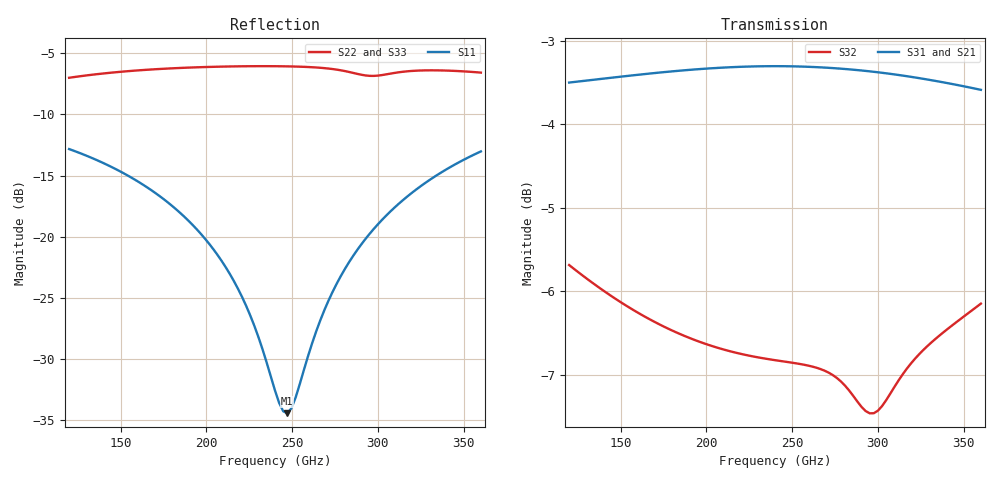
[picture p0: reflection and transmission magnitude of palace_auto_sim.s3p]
#  GHZ S DB R 50
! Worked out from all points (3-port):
!   101 points, 120 GHz to 360 GHz, reference 50 ohm
!   strongest paths, dB at 120 GHz, 180 GHz, 240 GHz, 300 GHz, 360 GHz:
!     S31: -3.5, -3.4, -3.3, -3.4, -3.6
!     S21: -3.5, -3.4, -3.3, -3.4, -3.6
!     S32: -5.7, -6.5, -6.8, -7.4, -6.1
!   lowest |S11| = -34.5 dB at 247.2 GHz (marker M1), VSWR 1.04, Z = 51.9 - j0.214 ohm
!   |S11| at or under -10 dB: start of sweep to end of sweep
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120  -12.83 132.1  -3.50 -43.8  -3.50 -43.9
     -3.50 -43.8  -7.00 51.2  -5.68 -97.6
     -3.50 -43.9  -5.68 -97.6  -7.01 51.2
165.6  -15.98 112.5  -3.40 -61.1  -3.40 -61.1
       -3.40 -61.1  -6.35 26.3  -6.32 -129.5
       -3.40 -61.1  -6.32 -129.5  -6.35 26.3
199.2  -20.17 95.1  -3.34 -74.1  -3.34 -74.1
       -3.34 -74.1  -6.13 11.0  -6.62 -152.2
       -3.34 -74.1  -6.62 -152.2  -6.13 11.0
220.8  -24.93 78.1  -3.32 -82.6  -3.31 -82.6
       -3.32 -82.6  -6.06 2.0  -6.75 -166.7
       -3.31 -82.6  -6.75 -166.7  -6.07 1.9
240  -32.59 36.3  -3.31 -90.1  -3.31 -90.2
     -3.31 -90.1  -6.06 -5.9  -6.82 -179.7
     -3.31 -90.2  -6.82 -179.7  -6.06 -6.0
247.2  -34.45 -6.2  -3.31 -93.0  -3.31 -93.0
       -3.31 -93.0  -6.07 -8.9  -6.84 175.3
       -3.31 -93.0  -6.84 175.3  -6.08 -9.0
271.2  -25.23 -82.3  -3.33 -102.5  -3.33 -102.5
       -3.33 -102.5  -6.25 -19.0  -6.97 158.5
       -3.33 -102.5  -6.97 158.5  -6.25 -19.1
290.4  -20.61 -98.4  -3.36 -110.1  -3.36 -110.1
       -3.36 -110.1  -6.76 -25.7  -7.38 146.1
       -3.36 -110.1  -7.38 146.1  -6.76 -25.8
319.2  -16.48 -114.3  -3.44 -121.4  -3.43 -121.5
       -3.44 -121.4  -6.45 -33.5  -6.86 131.2
       -3.43 -121.5  -6.86 131.2  -6.45 -33.6
360  -13.03 -132.7  -3.59 -137.3  -3.59 -137.3
     -3.59 -137.3  -6.58 -54.0  -6.15 102.0
     -3.59 -137.3  -6.15 102.0  -6.58 -54.1
